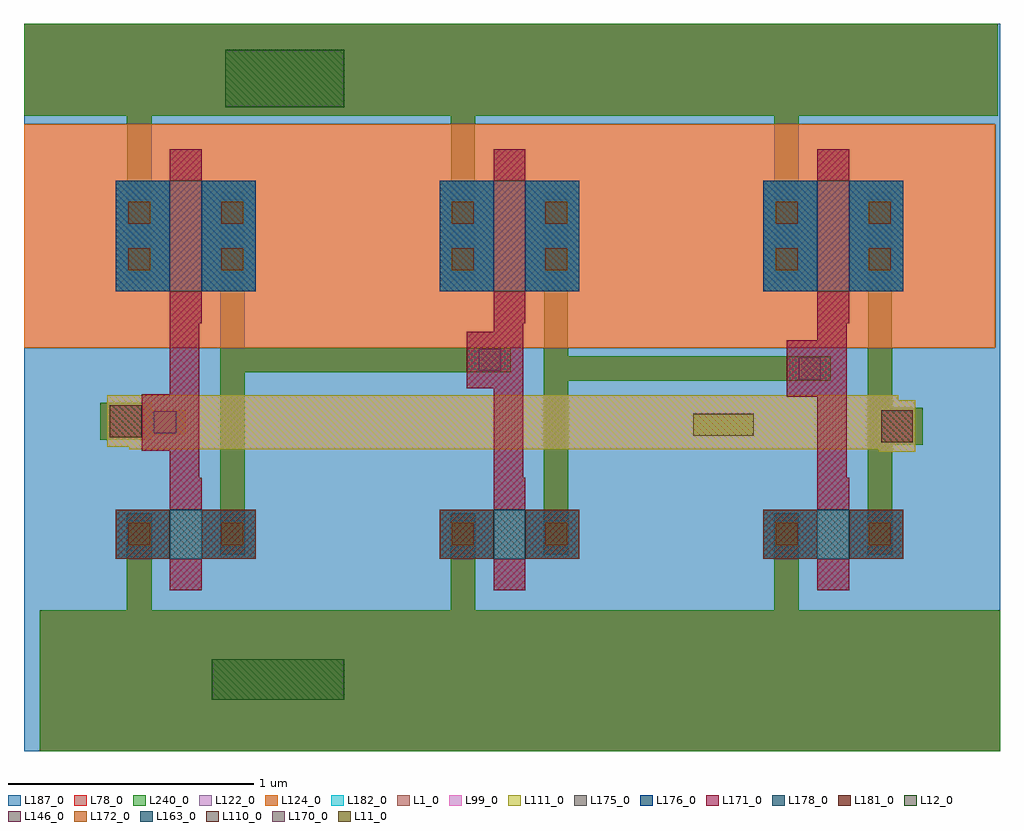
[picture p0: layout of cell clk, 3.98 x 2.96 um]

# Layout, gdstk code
import gdstk
lib = gdstk.Library(unit=1e-6, precision=1e-09)
def R(c, l, rs):  # rectangles x0, y0, x1, y1
    for r in rs: c.add(gdstk.rectangle(r[:2], r[2:], *l))
def A(c, l, x, y, w, h, nx, ny, dx, dy):  # array of equal rectangles
    R(c, l, [(x+i*dx, y+j*dy, x+i*dx+w, y+j*dy+h) for i in range(nx) for j in range(ny)])
def P(c, l, *ps):  # polygons
    for p in ps: c.add(gdstk.Polygon(p, *l))
L1_0 = (1, 0)
L11_0 = (11, 0)
L12_0 = (12, 0)
L78_0 = (78, 0)
L99_0 = (99, 0)
L110_0 = (110, 0)
L111_0 = (111, 0)
L122_0 = (122, 0)
L124_0 = (124, 0)
L146_0 = (146, 0)
L163_0 = (163, 0)
L170_0 = (170, 0)
L171_0 = (171, 0)
L172_0 = (172, 0)
L175_0 = (175, 0)
L176_0 = (176, 0)
L178_0 = (178, 0)
L181_0 = (181, 0)
L182_0 = (182, 0)
L187_0 = (187, 0)
L240_0 = (240, 0)

clk = lib.new_cell('clk')
P(clk, L1_0, [(-7.71,0.605),(-7.71,-0.105),(-7.72,-0.105),(-7.72,-0.735),(-7.71,-0.735),(-7.71,-1.195),(-7.84,-1.195),(-7.84,-0.625),(-7.955,-0.625),(-7.955,-0.395),(-7.84,-0.395),(-7.84,0.605)],
  [(-6.39,0.605),(-6.39,-0.105),(-6.4,-0.105),(-6.4,-0.735),(-6.39,-0.735),(-6.39,-1.195),(-6.52,-1.195),(-6.52,-0.37),(-6.63,-0.37),(-6.63,-0.14),(-6.52,-0.14),(-6.52,0.605)],
  [(-5.07,0.605),(-5.07,-0.105),(-5.08,-0.105),(-5.08,-0.735),(-5.07,-0.735),(-5.07,-1.195),(-5.2,-1.195),(-5.2,-0.405),(-5.325,-0.405),(-5.325,-0.175),(-5.2,-0.175),(-5.2,0.605)])
R(clk, L11_0, [(-5.705,-0.565,-5.46,-0.475)])
R(clk, L12_0, [(-7.67,-1.64,-7.13,-1.475), (-7.615,0.775,-7.13,1.01)])
P(clk, L78_0, [(-7.535,0.43),(-7.535,-0.205),(-6.45,-0.205),(-6.45,-0.305),(-7.535,-0.305),(-7.535,-1.05),(-7.635,-1.05),(-7.635,0.43)],
  [(-5.275,-0.88),(-5.275,-1.275),(-4.455,-1.275),(-4.455,-1.85),(-8.37,-1.85),(-8.37,-1.275),(-8.015,-1.275),(-8.015,-0.88),(-7.915,-0.88),(-7.915,-1.275),(-6.695,-1.275),(-6.695,-0.88),(-6.595,-0.88),(-6.595,-1.275),(-5.375,-1.275),(-5.375,-0.88)],
  [(-4.465,1.115),(-4.465,0.74),(-5.275,0.74),(-5.275,0.07),(-5.375,0.07),(-5.375,0.74),(-6.595,0.74),(-6.595,0.07),(-6.695,0.07),(-6.695,0.74),(-7.915,0.74),(-7.915,0.07),(-8.015,0.07),(-8.015,0.74),(-8.435,0.74),(-8.435,1.115)],
  [(-6.215,0.43),(-6.215,-0.24),(-5.145,-0.24),(-5.145,-0.34),(-6.215,-0.34),(-6.215,-1.05),(-6.315,-1.05),(-6.315,0.43)],
  [(-4.895,0.43),(-4.895,-0.45),(-4.77,-0.45),(-4.77,-0.6),(-4.895,-0.6),(-4.895,-1.05),(-4.995,-1.05),(-4.995,0.43)],
  [(-7.915,-0.43),(-7.915,-0.46),(-7.775,-0.46),(-7.775,-0.56),(-7.915,-0.56),(-7.915,-0.58),(-8.125,-0.58),(-8.125,-0.43)])
P(clk, L99_0, [(-4.87,-0.4),(-4.87,-0.42),(-4.8,-0.42),(-4.8,-0.63),(-4.95,-0.63),(-4.95,-0.62),(-8.005,-0.62),(-8.005,-0.61),(-8.095,-0.61),(-8.095,-0.4)])
R(clk, L110_0, [(-4.94,-0.59,-4.81,-0.46), (-8.085,-0.57,-7.955,-0.44)])
P(clk, L111_0, [(-4.87,-0.4),(-4.87,-0.42),(-4.8,-0.42),(-4.8,-0.63),(-4.95,-0.63),(-4.95,-0.62),(-8.005,-0.62),(-8.005,-0.61),(-8.095,-0.61),(-8.095,-0.4)])
R(clk, L122_0, [(-8.435,-0.205,-4.475,0.705)])
R(clk, L124_0, [(-8.435,-0.205,-4.475,0.705)])
A(clk, L146_0, -7.84, 0.025, 0.13, 0.45, 3, 1, 1.32, 0)
A(clk, L163_0, -7.84, -1.065, 0.13, 0.2, 3, 1, 1.32, 0)
R(clk, L170_0, [(-7.905,-0.555,-7.815,-0.465), (-5.275,-0.335,-5.185,-0.245), (-6.58,-0.3,-6.49,-0.21)])
A(clk, L171_0, -7.84, -1.195, 0.13, 0.13, 3, 2, 1.32, 1.67)
P(clk, L171_0, [(-5.07,0.025),(-5.07,-0.105),(-5.08,-0.105),(-5.08,-0.735),(-5.07,-0.735),(-5.07,-0.865),(-5.2,-0.865),(-5.2,-0.405),(-5.325,-0.405),(-5.325,-0.175),(-5.2,-0.175),(-5.2,0.025)],
  [(-6.39,0.025),(-6.39,-0.105),(-6.4,-0.105),(-6.4,-0.735),(-6.39,-0.735),(-6.39,-0.865),(-6.52,-0.865),(-6.52,-0.37),(-6.63,-0.37),(-6.63,-0.14),(-6.52,-0.14),(-6.52,0.025)],
  [(-7.71,0.025),(-7.71,-0.105),(-7.72,-0.105),(-7.72,-0.735),(-7.71,-0.735),(-7.71,-0.865),(-7.84,-0.865),(-7.84,-0.625),(-7.955,-0.625),(-7.955,-0.395),(-7.84,-0.395),(-7.84,0.025)])
R(clk, L172_0, [(-8.01,-1.01,-7.92,-0.92), (-7.63,-1.01,-7.54,-0.92), (-6.69,-1.01,-6.6,-0.92), (-6.31,-1.01,-6.22,-0.92), (-5.37,-1.01,-5.28,-0.92), (-4.99,-1.01,-4.9,-0.92), (-8.01,0.11,-7.92,0.2), (-7.63,0.11,-7.54,0.2), (-6.69,0.11,-6.6,0.2), (-6.31,0.11,-6.22,0.2), (-5.37,0.11,-5.28,0.2), (-4.99,0.11,-4.9,0.2), (-8.01,0.3,-7.92,0.39), (-7.63,0.3,-7.54,0.39), (-6.69,0.3,-6.6,0.39), (-6.31,0.3,-6.22,0.39), (-5.37,0.3,-5.28,0.39), (-4.99,0.3,-4.9,0.39)])
R(clk, L175_0, [(-8.06,0.025,-7.84,0.475), (-7.71,0.025,-7.49,0.475), (-6.74,0.025,-6.52,0.475), (-6.39,0.025,-6.17,0.475), (-5.42,0.025,-5.2,0.475), (-5.07,0.025,-4.85,0.475)])
R(clk, L176_0, [(-8.06,0.025,-7.84,0.475), (-7.71,0.025,-7.49,0.475), (-6.74,0.025,-6.52,0.475), (-6.39,0.025,-6.17,0.475), (-5.42,0.025,-5.2,0.475), (-5.07,0.025,-4.85,0.475)])
R(clk, L178_0, [(-8.06,-1.065,-7.84,-0.865), (-7.71,-1.065,-7.49,-0.865), (-6.74,-1.065,-6.52,-0.865), (-6.39,-1.065,-6.17,-0.865), (-5.42,-1.065,-5.2,-0.865), (-5.07,-1.065,-4.85,-0.865)])
R(clk, L181_0, [(-8.06,-1.065,-7.84,-0.865), (-7.71,-1.065,-7.49,-0.865), (-6.74,-1.065,-6.52,-0.865), (-6.39,-1.065,-6.17,-0.865), (-5.42,-1.065,-5.2,-0.865), (-5.07,-1.065,-4.85,-0.865)])
R(clk, L182_0, [(-8.06,-1.065,-7.84,-0.865), (-7.71,-1.065,-7.49,-0.865), (-6.74,-1.065,-6.52,-0.865), (-6.39,-1.065,-6.17,-0.865), (-5.42,-1.065,-5.2,-0.865), (-5.07,-1.065,-4.85,-0.865), (-8.06,0.025,-7.84,0.475), (-7.71,0.025,-7.49,0.475), (-6.74,0.025,-6.52,0.475), (-6.39,0.025,-6.17,0.475), (-5.42,0.025,-5.2,0.475), (-5.07,0.025,-4.85,0.475)])
P(clk, L187_0, [(-4.455,1.115),(-4.455,-1.85),(-8.435,-1.85),(-8.435,-0.205),(-4.475,-0.205),(-4.475,0.705),(-8.435,0.705),(-8.435,1.115)])
P(clk, L240_0, [(-7.535,0.43),(-7.535,-0.205),(-6.45,-0.205),(-6.45,-0.305),(-7.535,-0.305),(-7.535,-1.05),(-7.635,-1.05),(-7.635,0.43)],
  [(-5.275,-0.88),(-5.275,-1.275),(-4.455,-1.275),(-4.455,-1.85),(-8.37,-1.85),(-8.37,-1.275),(-8.015,-1.275),(-8.015,-0.88),(-7.915,-0.88),(-7.915,-1.275),(-6.695,-1.275),(-6.695,-0.88),(-6.595,-0.88),(-6.595,-1.275),(-5.375,-1.275),(-5.375,-0.88)],
  [(-4.465,1.115),(-4.465,0.74),(-5.275,0.74),(-5.275,0.07),(-5.375,0.07),(-5.375,0.74),(-6.595,0.74),(-6.595,0.07),(-6.695,0.07),(-6.695,0.74),(-7.915,0.74),(-7.915,0.07),(-8.015,0.07),(-8.015,0.74),(-8.435,0.74),(-8.435,1.115)],
  [(-6.215,0.43),(-6.215,-0.24),(-5.145,-0.24),(-5.145,-0.34),(-6.215,-0.34),(-6.215,-1.05),(-6.315,-1.05),(-6.315,0.43)],
  [(-4.895,0.43),(-4.895,-0.45),(-4.77,-0.45),(-4.77,-0.6),(-4.895,-0.6),(-4.895,-1.05),(-4.995,-1.05),(-4.995,0.43)],
  [(-7.915,-0.43),(-7.915,-0.46),(-7.775,-0.46),(-7.775,-0.56),(-7.915,-0.56),(-7.915,-0.58),(-8.125,-0.58),(-8.125,-0.43)])

lib.write_gds('clk.gds')
